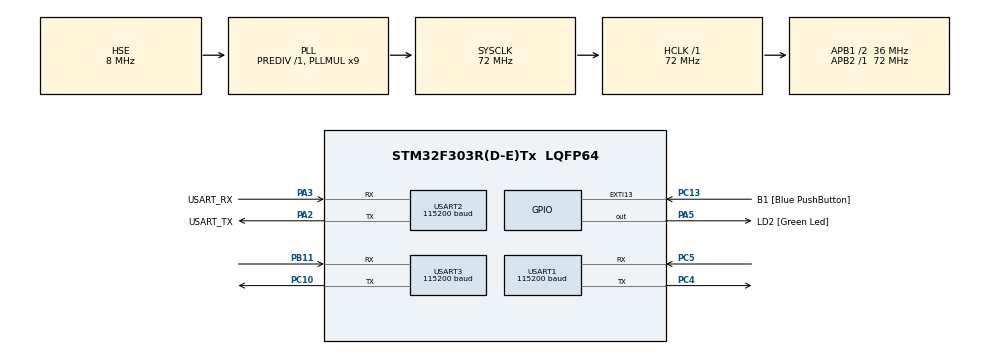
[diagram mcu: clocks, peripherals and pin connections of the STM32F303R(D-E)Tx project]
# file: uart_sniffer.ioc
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Dma.Request0=USART1_RX
Dma.Request1=USART3_RX
Dma.USART1_RX.0.Direction=DMA_PERIPH_TO_MEMORY
Dma.USART1_RX.0.Instance=DMA1_Channel5
Dma.USART1_RX.0.MemDataAlignment=DMA_MDATAALIGN_BYTE
Dma.USART1_RX.0.MemInc=DMA_MINC_ENABLE
Dma.USART1_RX.0.Mode=DMA_NORMAL
Dma.USART1_RX.0.PeriphDataAlignment=DMA_PDATAALIGN_BYTE
Dma.USART1_RX.0.PeriphInc=DMA_PINC_DISABLE
Dma.USART1_RX.0.Priority=DMA_PRIORITY_MEDIUM
Dma.USART3_RX.1.Direction=DMA_PERIPH_TO_MEMORY
Dma.USART3_RX.1.Instance=DMA1_Channel3
Dma.USART3_RX.1.MemDataAlignment=DMA_MDATAALIGN_BYTE
Dma.USART3_RX.1.MemInc=DMA_MINC_ENABLE
Dma.USART3_RX.1.Mode=DMA_NORMAL
Dma.USART3_RX.1.PeriphDataAlignment=DMA_PDATAALIGN_BYTE
Dma.USART3_RX.1.PeriphInc=DMA_PINC_DISABLE
Dma.USART3_RX.1.Priority=DMA_PRIORITY_MEDIUM
FREERTOS.Tasks01=Task1,24,128,Task1_App,Default,NULL,Dynamic,NULL,NULL;Task2,24,128,Task2_App,Default,NULL,Dynamic,NULL,NULL
FREERTOS.configUSE_NEWLIB_REENTRANT=1
Mcu.Family=STM32F3
Mcu.Name=STM32F303R(D-E)Tx
Mcu.Package=LQFP64
NVIC.DMA1_Channel3_IRQn=true\:5\:0\:false\:false\:true\:true\:false\:true\:true
NVIC.DMA1_Channel5_IRQn=true\:5\:0\:false\:false\:true\:true\:false\:true\:true
NVIC.PriorityGroup=NVIC_PRIORITYGROUP_4
NVIC.TIM6_DAC_IRQn=true\:15\:0\:false\:false\:true\:false\:false\:true\:true
NVIC.TimeBase=TIM6_DAC_IRQn
NVIC.TimeBaseIP=TIM6
NVIC.USART1_IRQn=true\:5\:0\:false\:false\:true\:true\:true\:true\:true
NVIC.USART2_IRQn=true\:5\:0\:false\:false\:true\:true\:true\:true\:true
NVIC.USART3_IRQn=true\:5\:0\:false\:false\:true\:true\:true\:true\:true
PA13.GPIO_Label=TMS
PA13.Mode=Serial_Wire
PA13.Signal=SYS_JTMS-SWDIO
PA14.GPIO_Label=TCK
PA14.Mode=Serial_Wire
PA14.Signal=SYS_JTCK-SWCLK
PA2.GPIO_Label=USART_TX
PA2.GPIO_Mode=GPIO_MODE_AF_PP
PA2.GPIO_PuPd=GPIO_NOPULL
PA2.GPIO_Speed=GPIO_SPEED_FREQ_LOW
PA2.Mode=Asynchronous
PA2.Signal=USART2_TX
PA3.GPIO_Label=USART_RX
PA3.GPIO_Mode=GPIO_MODE_AF_PP
PA3.GPIO_PuPd=GPIO_NOPULL
PA3.GPIO_Speed=GPIO_SPEED_FREQ_LOW
PA3.Mode=Asynchronous
PA3.Signal=USART2_RX
PA5.GPIO_Label=LD2 [Green Led]
PA5.GPIO_Mode=GPIO_MODE_OUTPUT_PP
PA5.GPIO_PuPd=GPIO_NOPULL
PA5.GPIO_Speed=GPIO_SPEED_FREQ_LOW
PA5.Signal=GPIO_Output
PB11.Mode=Asynchronous
PB11.Signal=USART3_RX
PB3.GPIO_Label=SWO
PB3.Signal=SYS_JTDO-TRACESWO
PC10.Mode=Asynchronous
PC10.Signal=USART3_TX
PC13.GPIO_Label=B1 [Blue PushButton]
PC13.GPIO_ModeDefaultEXTI=GPIO_MODE_IT_FALLING
PC13.GPIO_PuPd=GPIO_NOPULL
PC13.Signal=GPXTI13
PC14-OSC32_IN.Signal=RCC_OSC32_IN
PC15-OSC32_OUT.Signal=RCC_OSC32_OUT
PC4.Mode=Asynchronous
PC4.Signal=USART1_TX
PC5.Mode=Asynchronous
PC5.Signal=USART1_RX
PF0-OSC_IN.Mode=HSE-External-Oscillator
PF0-OSC_IN.Signal=RCC_OSC_IN
PF1-OSC_OUT.Mode=HSE-External-Oscillator
PF1-OSC_OUT.Signal=RCC_OSC_OUT
ProjectManager.HeapSize=0x200
ProjectManager.StackSize=0x400
ProjectManager.TargetToolchain=STM32CubeIDE
RCC.AHBFreq_Value=72000000
RCC.APB1CLKDivider=RCC_HCLK_DIV2
RCC.APB1Freq_Value=36000000
RCC.APB1TimFreq_Value=72000000
RCC.APB2Freq_Value=72000000
RCC.APB2TimFreq_Value=72000000
RCC.CortexFreq_Value=72000000
RCC.HCLKFreq_Value=72000000
RCC.HSE_VALUE=8000000
RCC.HSI_VALUE=8000000
RCC.LSE_VALUE=32768
RCC.PLLM=8
RCC.PLLMUL=RCC_PLL_MUL9
RCC.PLLN=336
RCC.PLLP=RCC_PLLP_DIV4
RCC.PLLQ=7
RCC.PLLSourceVirtual=RCC_PLLSOURCE_HSE
RCC.RCC_PLLsource_Clock_Source_FROM_HSE=RCC_HSE_PREDIV_DIV2
RCC.SYSCLKFreq_VALUE=72000000
RCC.SYSCLKSourceVirtual=RCC_SYSCLKSOURCE_PLLCLK
RCC.USBFreq_Value=72000000
USART1.BaudRate=115200
USART1.Mode=MODE_RX
USART1.VirtualMode-Asynchronous=VM_ASYNC
USART2.BaudRate=115200
USART2.VirtualMode-Asynchronous=VM_ASYNC
USART3.BaudRate=115200
USART3.Mode=MODE_RX
USART3.VirtualMode-Asynchronous=VM_ASYNC
VP_FREERTOS_VS_CMSIS_V2.Mode=CMSIS_V2
VP_SYS_VS_tim6.Mode=TIM6
board=NUCLEO-F303RE

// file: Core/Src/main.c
/* USER CODE BEGIN Header */
/**
  ******************************************************************************
  * @file           : main.c
  * @brief          : Main program body
  ******************************************************************************
  * @attention
  *
  * Copyright (c) 2025 STMicroelectronics.
  * All rights reserved.
  *
  * This software is licensed under terms that can be found in the LICENSE file
  * in the root directory of this software component.
  * If no LICENSE file comes with this software, it is provided AS-IS.
  *
  ******************************************************************************
  */
/* USER CODE END Header */
#include "main.h"
#include "cmsis_os.h"

/* USER CODE BEGIN Includes */
#include "string.h"
/* USER CODE END Includes */

/* USER CODE BEGIN PD */
#define MAX_MESSAGES 128
/* USER CODE END PD */

UART_HandleTypeDef huart1;
UART_HandleTypeDef huart2;
UART_HandleTypeDef huart3;
DMA_HandleTypeDef hdma_usart1_rx;
DMA_HandleTypeDef hdma_usart3_rx;

/* Definitions for Task1 */
osThreadId_t Task1Handle;
const osThreadAttr_t Task1_attributes = {
  .name = "Task1",
  .stack_size = 128 * 4,
  .priority = (osPriority_t) osPriorityNormal,
};
/* Definitions for Task2 */
osThreadId_t Task2Handle;
const osThreadAttr_t Task2_attributes = {
  .name = "Task2",
  .stack_size = 128 * 4,
  .priority = (osPriority_t) osPriorityNormal,
};

void SystemClock_Config(void);
static void MX_GPIO_Init(void);
static void MX_DMA_Init(void);
static void MX_USART2_UART_Init(void);
static void MX_USART3_UART_Init(void);
static void MX_USART1_UART_Init(void);
void Task1_App(void *argument);
void Task2_App(void *argument);

/* USER CODE BEGIN 0 */

uint8_t  uart1_rx_buffer[512] = {0};
uint8_t  uart1_rx_byte        = 0;
uint16_t uart1_byte_received  = 0;

uint8_t  uart3_rx_buffer[512] = {0};
uint8_t  uart3_rx_byte        = 0;
uint16_t uart3_byte_received  = 0;

uint8_t  transmit_buffer[]    = "Hello from STM32!\n\r";

uint8_t  btn_state;
uint8_t  prev_btn_state;

uint8_t  receive;

typedef enum
{
  MESSAGE_END_BYTE = 0,
  MESSAGE_END_NEWLINE,
  MESSAGE_END_CURSOR,
  MESSAGE_END_NEWLINE_CURSOR,

  MESSAGE_END_TOTAL
} message_end_condition;

typedef enum
{
  SNIFFER_BUFFER_1 = 0,
  SNIFFER_BUFFER_2,

  SNIFFER_BUFFER_TOTAL
} buffer_id;

typedef struct {
  uint8_t  message[32];
  uint8_t  length;
  uint8_t  line;
  uint32_t timestamp;
} received_data_t;

received_data_t       received_data[MAX_MESSAGES] = {0};
uint8_t               message_index     = 0;
uint8_t               keep_receiving    = 0;

buffer_id             uart1_rx_id       = SNIFFER_BUFFER_1;
buffer_id             uart3_rx_id       = SNIFFER_BUFFER_2;
message_end_condition message_end_state = MESSAGE_END_CURSOR;

void clear_buffer(uint8_t buffer_id)
{
  switch (buffer_id)
  {
    case SNIFFER_BUFFER_1:
      memset(uart1_rx_buffer, 0, sizeof(uart1_rx_buffer));
      break;
    case SNIFFER_BUFFER_2:
      memset(uart3_rx_buffer, 0, sizeof(uart3_rx_buffer));
      break;
    default:
      return;
  }
}

void clear_byte(uint8_t buffer_id)
{
  switch (buffer_id)
  {
    case SNIFFER_BUFFER_1:
      memset(&uart1_rx_byte, 0, sizeof(uart1_rx_byte));
      break;
    case SNIFFER_BUFFER_2:
      memset(&uart3_rx_byte, 0, sizeof(uart3_rx_byte));
      break;
    default:
      return;
  }
}

void print_all_received_messages(void)
{
  for (uint8_t i = 0; i < message_index; i++)
  {
    char timebuf[32];
    char linebuf[16];
    sprintf(timebuf, "[%lu ms] ", received_data[i].timestamp);
    HAL_UART_Transmit(&huart2, (uint8_t *)timebuf, strlen(timebuf), 100);
    sprintf(linebuf, "UART%d: ", received_data[i].line == SNIFFER_BUFFER_1 ? 1 : 3);
    HAL_UART_Transmit(&huart2, (uint8_t *)linebuf, strlen(linebuf), 100);
    HAL_UART_Transmit(&huart2, received_data[i].message, received_data[i].length, 100);
    HAL_UART_Transmit(&huart2, (uint8_t *)"\n\r", 2, 100);
  }

  message_index = 0;
}

void handle_receive(uint8_t buffer_byte, uint8_t buffer_id)
{
  static uint8_t  temp_buffer[64];
  static uint16_t temp_index = 0;

  if (message_end_state >= MESSAGE_END_TOTAL)
    return;

  temp_buffer[temp_index++] = buffer_byte;

  if (temp_index >= 64)
  {
    temp_index = 0;
    return;
  }

  uint8_t is_end = 0;
  switch (message_end_state)
  {
    case MESSAGE_END_BYTE:
      is_end = 1;
      break;
    case MESSAGE_END_NEWLINE:
      if (buffer_byte == '\n')
        is_end = 1;
      break;
    case MESSAGE_END_CURSOR:
      if (buffer_byte == '\r')
        is_end = 1;
      break;
    case MESSAGE_END_NEWLINE_CURSOR:
      if (buffer_byte == '\r' && temp_index > 1 && temp_buffer[temp_index - 2] == '\n')
        is_end = 1;
      break;
    default:
      break;
  }

  if (is_end)
  {
    memcpy(received_data[message_index].message, temp_buffer, temp_index);
    received_data[message_index].length    = temp_index;
    received_data[message_index].line      = buffer_id;
    received_data[message_index].timestamp = HAL_GetTick();
    if (++message_index >= MAX_MESSAGES)
    {
      keep_receiving = 0;
      receive        = 0;
      HAL_UART_Transmit_IT(&huart2, (uint8_t *)"Sniffing OFF\r\n", 14);
      print_all_received_messages();
    }

    temp_index = 0;
    memset(temp_buffer, 0, sizeof(temp_buffer));
  }
}

void HAL_UART_RxCpltCallback(UART_HandleTypeDef *huart)
{
  if (!receive)
  {
    HAL_UART_Transmit_IT(&huart2, (uint8_t *)"Sniffing stopped\r\n", 18);
    return;
  }

  if (huart == &huart1)
  {
    HAL_GPIO_WritePin(GPIOA, GPIO_PIN_5, GPIO_PIN_SET);
    handle_receive(uart1_rx_byte, uart1_rx_id);
    HAL_GPIO_WritePin(GPIOA, GPIO_PIN_5, GPIO_PIN_RESET);
    if (keep_receiving)
    {
      HAL_UART_Receive_DMA(&huart1, &uart1_rx_byte, 1);
    }
  }
  if (huart == &huart3)
  {
    HAL_GPIO_WritePin(GPIOA, GPIO_PIN_5, GPIO_PIN_SET);
    handle_receive(uart3_rx_byte, uart3_rx_id);\
    HAL_GPIO_WritePin(GPIOA, GPIO_PIN_5, GPIO_PIN_RESET);
    if (keep_receiving)
    {
      HAL_UART_Receive_DMA(&huart3, &uart3_rx_byte, 1);
    }
  }
}

void HAL_UART_TxCpltCallback(UART_HandleTypeDef *huart)
{
  if (huart->Instance == USART2)
  {
  }
}
/* USER CODE END 0 */

int main(void)
{

  /* MCU Configuration--------------------------------------------------------*/

  /* Reset of all peripherals, Initializes the Flash interface and the Systick. */
  HAL_Init();

  /* Configure the system clock */
  SystemClock_Config();

  /* Initialize all configured peripherals */
  MX_GPIO_Init();
  MX_DMA_Init();
  MX_USART2_UART_Init();
  MX_USART3_UART_Init();
  MX_USART1_UART_Init();

  /* Init scheduler */
  osKernelInitialize();

  /* Create the thread(s) */
  /* creation of Task1 */
  Task1Handle = osThreadNew(Task1_App, NULL, &Task1_attributes);

  /* creation of Task2 */
  Task2Handle = osThreadNew(Task2_App, NULL, &Task2_attributes);

  /* Start scheduler */
  osKernelStart();

  /* We should never get here as control is now taken by the scheduler */

  /* Infinite loop */
  while (1)
  {

    /* USER CODE BEGIN 3 */

//    HAL_UART_Transmit(&huart2, transmit_buffer, sizeof(transmit_buffer)/sizeof(transmit_buffer[0]), 100);
//    HAL_Delay(2000);
  }
  /* USER CODE END 3 */
}

void SystemClock_Config(void)
{
  RCC_OscInitTypeDef RCC_OscInitStruct = {0};
  RCC_ClkInitTypeDef RCC_ClkInitStruct = {0};
  RCC_PeriphCLKInitTypeDef PeriphClkInit = {0};

  /** Initializes the RCC Oscillators according to the specified parameters
  * in the RCC_OscInitTypeDef structure.
  */
  RCC_OscInitStruct.OscillatorType = RCC_OSCILLATORTYPE_HSE;
  RCC_OscInitStruct.HSEState = RCC_HSE_ON;
  RCC_OscInitStruct.HSIState = RCC_HSI_ON;
  RCC_OscInitStruct.PLL.PLLState = RCC_PLL_ON;
  RCC_OscInitStruct.PLL.PLLSource = RCC_PLLSOURCE_HSE;
  RCC_OscInitStruct.PLL.PLLMUL = RCC_PLL_MUL9;
  RCC_OscInitStruct.PLL.PREDIV = RCC_PREDIV_DIV1;
  if (HAL_RCC_OscConfig(&RCC_OscInitStruct) != HAL_OK)
  {
    Error_Handler();
  }

  /** Initializes the CPU, AHB and APB buses clocks
  */
  RCC_ClkInitStruct.ClockType = RCC_CLOCKTYPE_HCLK|RCC_CLOCKTYPE_SYSCLK
                              |RCC_CLOCKTYPE_PCLK1|RCC_CLOCKTYPE_PCLK2;
  RCC_ClkInitStruct.SYSCLKSource = RCC_SYSCLKSOURCE_PLLCLK;
  RCC_ClkInitStruct.AHBCLKDivider = RCC_SYSCLK_DIV1;
  RCC_ClkInitStruct.APB1CLKDivider = RCC_HCLK_DIV2;
  RCC_ClkInitStruct.APB2CLKDivider = RCC_HCLK_DIV1;

  if (HAL_RCC_ClockConfig(&RCC_ClkInitStruct, FLASH_LATENCY_2) != HAL_OK)
  {
    Error_Handler();
  }
  PeriphClkInit.PeriphClockSelection = RCC_PERIPHCLK_USART1|RCC_PERIPHCLK_USART2
                              |RCC_PERIPHCLK_USART3;
  PeriphClkInit.Usart1ClockSelection = RCC_USART1CLKSOURCE_PCLK2;
  PeriphClkInit.Usart2ClockSelection = RCC_USART2CLKSOURCE_PCLK1;
  PeriphClkInit.Usart3ClockSelection = RCC_USART3CLKSOURCE_PCLK1;
  if (HAL_RCCEx_PeriphCLKConfig(&PeriphClkInit) != HAL_OK)
  {
    Error_Handler();
  }
}

static void MX_USART1_UART_Init(void)
{

  huart1.Instance = USART1;
  huart1.Init.BaudRate = 115200;
  huart1.Init.WordLength = UART_WORDLENGTH_8B;
  huart1.Init.StopBits = UART_STOPBITS_1;
  huart1.Init.Parity = UART_PARITY_NONE;
  huart1.Init.Mode = UART_MODE_RX;
  huart1.Init.HwFlowCtl = UART_HWCONTROL_NONE;
  huart1.Init.OverSampling = UART_OVERSAMPLING_16;
  huart1.Init.OneBitSampling = UART_ONE_BIT_SAMPLE_DISABLE;
  huart1.AdvancedInit.AdvFeatureInit = UART_ADVFEATURE_NO_INIT;
  if (HAL_UART_Init(&huart1) != HAL_OK)
  {
    Error_Handler();
  }

}

static void MX_USART2_UART_Init(void)
{

  huart2.Instance = USART2;
  huart2.Init.BaudRate = 115200;
  huart2.Init.WordLength = UART_WORDLENGTH_8B;
  huart2.Init.StopBits = UART_STOPBITS_1;
  huart2.Init.Parity = UART_PARITY_NONE;
  huart2.Init.Mode = UART_MODE_TX_RX;
  huart2.Init.HwFlowCtl = UART_HWCONTROL_NONE;
  huart2.Init.OverSampling = UART_OVERSAMPLING_16;
  huart2.Init.OneBitSampling = UART_ONE_BIT_SAMPLE_DISABLE;
  huart2.AdvancedInit.AdvFeatureInit = UART_ADVFEATURE_NO_INIT;
  if (HAL_UART_Init(&huart2) != HAL_OK)
  {
    Error_Handler();
  }

}

static void MX_USART3_UART_Init(void)
{

  huart3.Instance = USART3;
  huart3.Init.BaudRate = 115200;
  huart3.Init.WordLength = UART_WORDLENGTH_8B;
  huart3.Init.StopBits = UART_STOPBITS_1;
  huart3.Init.Parity = UART_PARITY_NONE;
  huart3.Init.Mode = UART_MODE_RX;
  huart3.Init.HwFlowCtl = UART_HWCONTROL_NONE;
  huart3.Init.OverSampling = UART_OVERSAMPLING_16;
  huart3.Init.OneBitSampling = UART_ONE_BIT_SAMPLE_DISABLE;
  huart3.AdvancedInit.AdvFeatureInit = UART_ADVFEATURE_NO_INIT;
  if (HAL_UART_Init(&huart3) != HAL_OK)
  {
    Error_Handler();
  }

}

static void MX_DMA_Init(void)
{

  /* DMA controller clock enable */
  __HAL_RCC_DMA1_CLK_ENABLE();

  /* DMA interrupt init */
  /* DMA1_Channel3_IRQn interrupt configuration */
  HAL_NVIC_SetPriority(DMA1_Channel3_IRQn, 5, 0);
  HAL_NVIC_EnableIRQ(DMA1_Channel3_IRQn);
  /* DMA1_Channel5_IRQn interrupt configuration */
  HAL_NVIC_SetPriority(DMA1_Channel5_IRQn, 5, 0);
  HAL_NVIC_EnableIRQ(DMA1_Channel5_IRQn);

}

static void MX_GPIO_Init(void)
{
  GPIO_InitTypeDef GPIO_InitStruct = {0};

  /* GPIO Ports Clock Enable */
  __HAL_RCC_GPIOC_CLK_ENABLE();
  __HAL_RCC_GPIOF_CLK_ENABLE();
  __HAL_RCC_GPIOA_CLK_ENABLE();
  __HAL_RCC_GPIOB_CLK_ENABLE();

  /*Configure GPIO pin Output Level */
  HAL_GPIO_WritePin(LD2_GPIO_Port, LD2_Pin, GPIO_PIN_RESET);

  /*Configure GPIO pin : B1_Pin */
  GPIO_InitStruct.Pin = B1_Pin;
  GPIO_InitStruct.Mode = GPIO_MODE_IT_FALLING;
  GPIO_InitStruct.Pull = GPIO_NOPULL;
  HAL_GPIO_Init(B1_GPIO_Port, &GPIO_InitStruct);

  /*Configure GPIO pin : LD2_Pin */
  GPIO_InitStruct.Pin = LD2_Pin;
  GPIO_InitStruct.Mode = GPIO_MODE_OUTPUT_PP;
  GPIO_InitStruct.Pull = GPIO_NOPULL;
  GPIO_InitStruct.Speed = GPIO_SPEED_FREQ_LOW;
  HAL_GPIO_Init(LD2_GPIO_Port, &GPIO_InitStruct);

}

void Task1_App(void *argument)
{
  /* USER CODE BEGIN 5 */
  btn_state = 1;
  prev_btn_state = 1;
  receive = 0;
  /* Infinite loop */
  for(;;)
  {
    btn_state = HAL_GPIO_ReadPin(GPIOC, GPIO_PIN_13);
    if (!btn_state)
    {
      prev_btn_state = btn_state;
    }
    else if (btn_state && !prev_btn_state)
    {
      receive        ^= 1;
      keep_receiving ^= 1;
      if (receive)
      {
        clear_buffer(SNIFFER_BUFFER_1);
        clear_buffer(SNIFFER_BUFFER_2);
        osDelay(1);
        HAL_UART_Receive_DMA(&huart1, &uart1_rx_byte, 1);
        HAL_UART_Receive_DMA(&huart3, &uart3_rx_byte, 1);
        HAL_UART_Transmit_IT(&huart2, (uint8_t *)"Sniffing ON\r\n", 13);
      }
      else
      {
        HAL_UART_DMAStop(&huart1);
        HAL_UART_DMAStop(&huart3);
        HAL_UART_Transmit_IT(&huart2, (uint8_t *)"Sniffing OFF\r\n", 14);
        osDelay(2);
        print_all_received_messages();
      }

      prev_btn_state = btn_state;
    }
    osDelay(100);
  }
  /* USER CODE END 5 */
}

void Task2_App(void *argument)
{
  /* USER CODE BEGIN Task2_App */
  /* Infinite loop */
  for(;;)
  {
    osDelay(1000);
  }
  /* USER CODE END Task2_App */
}

void HAL_TIM_PeriodElapsedCallback(TIM_HandleTypeDef *htim)
{
  if (htim->Instance == TIM6)
  {
    HAL_IncTick();
  }
}

void Error_Handler(void)
{
  __disable_irq();
  while (1)
  {
  }
}
